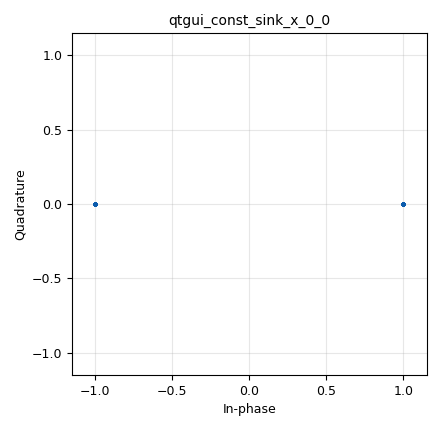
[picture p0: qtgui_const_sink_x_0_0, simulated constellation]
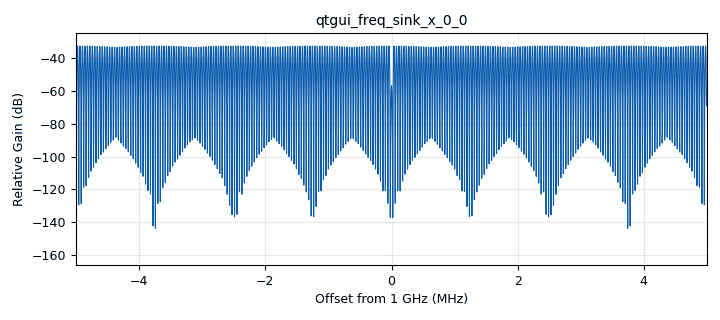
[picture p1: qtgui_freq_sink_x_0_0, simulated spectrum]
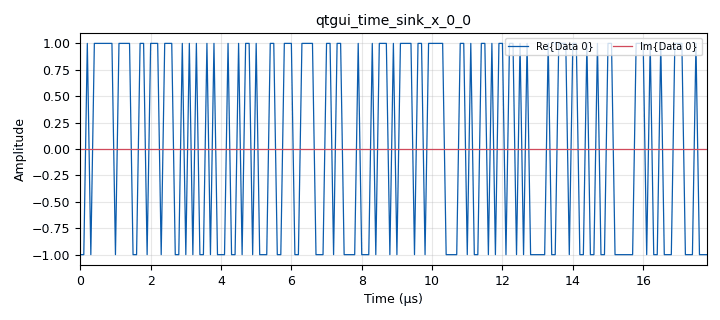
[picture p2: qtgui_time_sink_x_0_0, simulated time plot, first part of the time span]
options:
  parameters:
    author: root
    generate_options: qt_gui
    id: tx
    output_language: python
    title: Tx
  states: {}

blocks:
- name: freq
  id: variable
  parameters:
    value: '1000000000'
  states: {}
- name: full_signal_len
  id: variable
  parameters:
    value: '255'
  states: {}
- name: ga128
  id: variable
  parameters:
    value: (1,1,-1,-1,-1,-1,-1,-1,-1,1,-1,1,1,-1,-1,1,1,1,-1,-1,1,1,1,1,-1,1,-1,1,-1,1,1,-1,-1,-1,1,1,1,1,1,1,1,-1,1,-1,-1,1,1,-1,1,1,-1,-1,1,1,1,1,-1,1,-1,1,-1,1,1,-1,1,1,-1,-1,-1,-1,-1,-1,-1,1,-1,1,1,-1,-1,1,1,1,-1,-1,1,1,1,1,-1,1,-1,1,-1,1,1,-1,1,1,-1,-1,-1,-1,-1,-1,-1,1,-1,1,1,-1,-1,1,-1,-1,1,1,-1,-1,-1,-1,1,-1,1,-1,1,-1,-1,1)
  states: {}
- name: glfsr
  id: variable
  parameters:
    value: (1,-1,1,1,-1,-1,-1,1,1,1,1,-1,1,-1,-1,-1,-1,1,1,1,1,1,1,1,1,-1,-1,1,-1,-1,-1,-1,1,-1,1,-1,-1,1,1,1,1,1,-1,1,-1,1,-1,1,-1,1,1,1,-1,-1,-1,-1,-1,1,1,-1,-1,-1,1,-1,1,-1,1,1,-1,-1,1,1,-1,-1,1,-1,1,1,1,1,1,1,-1,1,1,1,1,-1,-1,1,1,-1,1,1,1,-1,1,1,1,-1,-1,1,-1,1,-1,1,-1,-1,1,-1,1,-1,-1,-1,1,-1,-1,1,-1,1,1,-1,1,-1,-1,-1,1,1,-1,-1,1,1,1,-1,-1,1,1,1,1,-1,-1,-1,1,1,-1,1,1,-1,-1,-1,-1,1,-1,-1,-1,1,-1,1,1,1,-1,1,-1,1,1,1,1,-1,1,1,-1,1,1,1,1,1,-1,-1,-1,-1,1,1,-1,1,-1,-1,1,1,-1,1,-1,1,1,-1,1,1,-1,1,-1,1,-1,-1,-1,-1,-1,1,-1,-1,1,1,1,-1,1,1,-1,-1,1,-1,-1,1,-1,-1,1,1,-1,-1,-1,-1,-1,-1,1,1,1,-1,1,-1,-1,1,-1,-1,-1,1,1,1,-1,-1,-1,1,-1,-1,-1,-1,-1,-1,-1)
  states: {}
- name: glfsr150
  id: variable
  parameters:
    value: (1,-1,1,1,-1,-1,-1,1,1,1,1,-1,1,-1,-1,-1,-1,1,1,1,1,1,1,1,1,-1,-1,1,-1,-1,-1,-1,1,-1,1,-1,-1,1,1,1,1,1,-1,1,-1,1,-1,1,-1,1,1,1,-1,-1,-1,-1,-1,1,1,-1,-1,-1,1,-1,1,-1,1,1,-1,-1,1,1,-1,-1,1,-1,1,1,1,1,1,1,-1,1,1,1,1,-1,-1,1,1,-1,1,1,1,-1,1,1,1,-1,-1,1,-1,1,-1,1,-1,-1,1,-1,1,-1,-1,-1,1,-1,-1,1,-1,1,1,-1,1,-1,-1,-1,1,1,-1,-1,1,1,1,-1,-1,1,1,1,1,-1,-1,-1,1,1,-1,1,1,-1,-1,-1)
  states: {}
- name: glfsr_0s
  id: variable
  parameters:
    value: (1,-1,1,1,-1,-1,-1,1,1,1,1,-1,1,-1,-1,-1,-1,1,1,1,1,1,1,1,1,-1,-1,1,-1,-1,-1,-1,1,-1,1,-1,-1,1,1,1,1,1,-1,1,-1,1,-1,1,-1,1,1,1,-1,-1,-1,-1,-1,1,1,-1,-1,-1,1,-1,1,-1,1,1,-1,-1,1,1,-1,-1,1,-1,1,1,1,1,1,1,-1,1,1,1,1,-1,-1,1,1,-1,1,1,1,-1,1,1,1,-1,-1,1,-1,1,-1,1,-1,-1,1,-1,1,-1,-1,-1,1,-1,-1,1,-1,1,1,-1,1,-1,-1,-1,1,1,-1,-1,1,1,1,-1,-1,1,1,1,1,-1,-1,-1,1,1,-1,1,1,-1,-1,-1,-1,1,-1,-1,-1,1,-1,1,1,1,-1,1,-1,1,1,1,1,-1,1,1,-1,1,1,1,1,1,-1,-1,-1,-1,1,1,-1,1,-1,-1,1,1,-1,1,-1,1,1,-1,1,1,-1,1,-1,1,-1,-1,-1,-1,-1,1,-1,-1,1,1,1,-1,1,1,-1,-1,1,-1,-1,1,-1,-1,1,1,-1,-1,-1,-1,-1,-1,1,1,1,-1,1,-1,-1,1,-1,-1,-1,1,1,1,-1,-1,-1,1,-1,-1,-1,-1,-1,-1,-1,0,0,0,0,0,0,0,0,0,0,0,0,0,0,0,0,0,0,0,0,0,0,0,0,0,0,0,0,0,0,0,0,0,0,0,0,0,0,0,0,0,0,0,0,0,0,0,0,0,0,0,0,0,0,0,0,0,0,0,0,0,0,0,0,0,0,0,0,0,0,0,0,0,0,0,0,0,0,0,0,0,0,0,0,0,0,0,0,0,0,0,0,0,0,0,0,0,0,0,0,0,0,0,0,0,0,0,0,0,0,0,0,0,0,0,0,0,0,0,0,0,0,0,0,0,0,0,0,0,0,0,0,0,0,0,0,0,0,0,0,0,0,0,0,0,0,0,0,0,0,0,0,0,0,0,0,0,0,0,0,0,0,0,0,0,0,0,0,0,0,0,0,0,0,0,0,0,0,0,0,0,0,0,0,0,0,0,0,0,0,0,0,0,0,0,0,0,0,0,0,0,0,0,0,0,0,0,0,0,0,0,0,0,0,0,0,0,0,0,0,0,0,0,0,0,0,0,0,0,0,0,0,0,0,0,0,0,0,0,0,0,0,0,0,0,0,0,0,0,0,0,0,0,0,0)
  states: {}
- name: ls1
  id: variable
  parameters:
    value: (1,1,-1,1,1,1,1,-1,1,1,-1,1,-1,-1,-1,1,1,1,-1,1,1,1,1,-1,-1,-1,1,-1,1,1,1,-1,1,1,-1,1,1,1,1,-1,1,1,-1,1,-1,-1,-1,1,-1,-1,1,-1,-1,-1,-1,1,1,1,-1,1,-1,-1,-1,1,1,1,-1,1,1,1,1,-1,1,1,-1,1,-1,-1,-1,1,1,1,-1,1,1,1,1,-1,-1,-1,1,-1,1,1,1,-1,-1,-1,1,-1,-1,-1,-1,1,-1,-1,1,-1,1,1,1,-1,1,1,-1,1,1,1,1,-1,-1,-1,1,-1,1,1,1,-1,1,1,-1,1,1,1,1,-1,1,1,-1,1,-1,-1,-1,1,1,1,-1,1,1,1,1,-1,-1,-1,1,-1,1,1,1,-1,1,1,-1,1,1,1,1,-1,1,1,-1,1,-1,-1,-1,1,-1,-1,1,-1,-1,-1,-1,1,1,1,-1,1,-1,-1,-1,1,-1,-1,1,-1,-1,-1,-1,1,-1,-1,1,-1,1,1,1,-1,-1,-1,1,-1,-1,-1,-1,1,1,1,-1,1,-1,-1,-1,1,1,1,-1,1,1,1,1,-1,1,1,-1,1,-1,-1,-1,1,-1,-1,1,-1,-1,-1,-1,1,1,1,-1,1,-1,-1,-1,1)
  states: {}
- name: ls1_all
  id: variable
  parameters:
    value: (0,0,0,0,0,0,0,0,0,0,0,0,0,0,0,0,0,0,0,0,0,0,0,0,0,0,0,0,0,0,0,0,0,0,0,0,0,0,0,0,0,0,0,0,0,0,0,0,0,0,0,0,0,0,0,0,0,0,0,0,0,0,0,0,0,0,0,0,0,0,0,0,0,0,0,0,0,0,0,0,0,0,0,0,0,0,0,0,0,0,0,0,0,0,0,0,0,0,0,0,0,0,0,0,0,0,0,0,0,0,0,0,0,0,0,0,0,0,0,0,0,0,0,0,0,0,0,0,0,0,0,0,0,0,0,0,0,0,0,0,0,0,0,0,0,0,0,0,0,0,0,0,0,0,0,0,0,0,0,0,0,0,0,0,0,0,0,0,0,0,0,0,0,0,0,0,0,0,0,0,0,0,0,0,0,0,0,0,0,0,0,0,0,0,0,0,0,0,0,0,0,0,0,0,0,0,0,0,0,0,0,0,0,0,0,0,0,0,0,0,0,0,0,0,0,0,0,0,0,0,0,0,0,0,0,0,0,0,0,0,0,0,0,0,0,0,0,0,0,0,0,0,0,0,0,1,1,-1,1,1,1,1,-1,1,1,-1,1,-1,-1,-1,1,1,1,-1,1,1,1,1,-1,-1,-1,1,-1,1,1,1,-1,1,1,-1,1,1,1,1,-1,1,1,-1,1,-1,-1,-1,1,-1,-1,1,-1,-1,-1,-1,1,1,1,-1,1,-1,-1,-1,1,1,1,-1,1,1,1,1,-1,1,1,-1,1,-1,-1,-1,1,1,1,-1,1,1,1,1,-1,-1,-1,1,-1,1,1,1,-1,-1,-1,1,-1,-1,-1,-1,1,-1,-1,1,-1,1,1,1,-1,1,1,-1,1,1,1,1,-1,-1,-1,1,-1,1,1,1,-1,1,1,-1,1,1,1,1,-1,1,1,-1,1,-1,-1,-1,1,1,1,-1,1,1,1,1,-1,-1,-1,1,-1,1,1,1,-1,1,1,-1,1,1,1,1,-1,1,1,-1,1,-1,-1,-1,1,-1,-1,1,-1,-1,-1,-1,1,1,1,-1,1,-1,-1,-1,1,-1,-1,1,-1,-1,-1,-1,1,-1,-1,1,-1,1,1,1,-1,-1,-1,1,-1,-1,-1,-1,1,1,1,-1,1,-1,-1,-1,1,1,1,-1,1,1,1,1,-1,1,1,-1,1,-1,-1,-1,1,-1,-1,1,-1,-1,-1,-1,1,1,1,-1,1,-1,-1,-1,1,0,0,0,0,0,0,0,0,0,0,0,0,0,0,0,0,0,0,0,0,0,0,0,0,0,0,0,0,0,0,0,0,0,0,0,0,0,0,0,0,0,0,0,0,0,0,0,0,0,0,0,0,0,0,0,0,0,0,0,0,0,0,0,0,0,0,0,0,0,0,0,0,0,0,0,0,0,0,0,0,0,0,0,0,0,0,0,0,0,0,0,0,0,0,0,0,0,0,0,0,0,0,0,0,0,0,0,0,0,0,0,0,0,0,0,0,0,0,0,0,0,0,0,0,0,0,0,0,0,0,0,0,0,0,0,0,0,0,0,0,0,0,0,0,0,0,0,0,0,0,0,0,0,0,0,0,0,0,0,0,0,0,0,0,0,0,0,0,0,0,0,0,0,0,0,0,0,0,0,0,0,0,0,0,0,0,0,0,0,0,0,0,0,0,0,0,0,0,0,0,0,0,0,0,0,0,0,0,0,0,0,0,0,0,0,0,0,0,0,0,0,0,0,0,0,0,0,0,0,0,0,0,0,0,0,0,0,0,0,0,0,0,0,0,0,0,0,0,0,0,0,0,0,0,0,1,-1,-1,-1,1,-1,1,1,1,-1,-1,-1,-1,1,-1,-1,1,-1,-1,-1,1,-1,1,1,-1,1,1,1,1,-1,1,1,1,-1,-1,-1,1,-1,1,1,1,-1,-1,-1,-1,1,-1,-1,-1,1,1,1,-1,1,-1,-1,1,-1,-1,-1,-1,1,-1,-1,1,-1,-1,-1,1,-1,1,1,1,-1,-1,-1,-1,1,-1,-1,1,-1,-1,-1,1,-1,1,1,-1,1,1,1,1,-1,1,1,-1,1,1,1,-1,1,-1,-1,-1,1,1,1,1,-1,1,1,1,-1,-1,-1,1,-1,1,1,-1,1,1,1,1,-1,1,1,1,-1,-1,-1,1,-1,1,1,1,-1,-1,-1,-1,1,-1,-1,1,-1,-1,-1,1,-1,1,1,-1,1,1,1,1,-1,1,1,1,-1,-1,-1,1,-1,1,1,1,-1,-1,-1,-1,1,-1,-1,-1,1,1,1,-1,1,-1,-1,1,-1,-1,-1,-1,1,-1,-1,-1,1,1,1,-1,1,-1,-1,-1,1,1,1,1,-1,1,1,-1,1,1,1,-1,1,-1,-1,1,-1,-1,-1,-1,1,-1,-1,1,-1,-1,-1,1,-1,1,1,1,-1,-1,-1,-1,1,-1,-1,-1,1,1,1,-1,1,-1,-1,1,-1,-1,-1,-1,1,-1,-1)
  states: {}
- name: ls1_d0
  id: variable
  parameters:
    value: (1,1,-1,1,1,1,1,-1,1,1,-1,1,-1,-1,-1,1,1,1,-1,1,1,1,1,-1,-1,-1,1,-1,1,1,1,-1,1,1,-1,1,1,1,1,-1,1,1,-1,1,-1,-1,-1,1,-1,-1,1,-1,-1,-1,-1,1,1,1,-1,1,-1,-1,-1,1,1,1,-1,1,1,1,1,-1,1,1,-1,1,-1,-1,-1,1,1,1,-1,1,1,1,1,-1,-1,-1,1,-1,1,1,1,-1,-1,-1,1,-1,-1,-1,-1,1,-1,-1,1,-1,1,1,1,-1,1,1,-1,1,1,1,1,-1,-1,-1,1,-1,1,1,1,-1,1,1,-1,1,1,1,1,-1,1,1,-1,1,-1,-1,-1,1,1,1,-1,1,1,1,1,-1,-1,-1,1,-1,1,1,1,-1,1,1,-1,1,1,1,1,-1,1,1,-1,1,-1,-1,-1,1,-1,-1,1,-1,-1,-1,-1,1,1,1,-1,1,-1,-1,-1,1,-1,-1,1,-1,-1,-1,-1,1,-1,-1,1,-1,1,1,1,-1,-1,-1,1,-1,-1,-1,-1,1,1,1,-1,1,-1,-1,-1,1,1,1,-1,1,1,1,1,-1,1,1,-1,1,-1,-1,-1,1,-1,-1,1,-1,-1,-1,-1,1,1,1,-1,1,-1,-1,-1,1,0,0,0,0,0,0,0,0,0,0,0,0,0,0,0,0,0,0,0,0,0,0,0,0,0,0,0,0,0,0,0,0,0,0,0,0,0,0,0,0,0,0,0,0,0,0,0,0,0,0,0,0,0,0,0,0,0,0,0,0,0,0,0,0,0,0,0,0,0,0,0,0,0,0,0,0,0,0,0,0,0,0,0,0,0,0,0,0,0,0,0,0,0,0,0,0,0,0,0,0,0,0,0,0,0,0,0,0,0,0,0,0,0,0,0,0,0,0,0,0,0,0,0,0,0,0,0,0,0,0,0,0,0,0,0,0,0,0,0,0,0,0,0,0,0,0,0,0,0,0,0,0,0,0,0,0,0,0,0,0,0,0,0,0,0,0,0,0,0,0,0,0,0,0,0,0,0,0,0,0,0,0,0,0,0,0,0,0,0,0,0,0,0,0,0,0,0,0,0,0,0,0,0,0,0,0,0,0,0,0,0,0,0,0,0,0,0,0,0,0,0,0,0,0,0,0,0,0,0,0,0,0,0,0,0,0,0,0,0,0,0,0,0,0,0,0,0,0,0,0,0,0,0,0,0)
  states: {state: disabled}
- name: ls2
  id: variable
  parameters:
    value: (1,1,-1,1,1,1,1,-1,1,1,-1,1,-1,-1,-1,1,1,1,-1,1,1,1,1,-1,-1,-1,1,-1,1,1,1,-1,1,1,-1,1,1,1,1,-1,1,1,-1,1,-1,-1,-1,1,-1,-1,1,-1,-1,-1,-1,1,1,1,-1,1,-1,-1,-1,1,1,1,-1,1,1,1,1,-1,1,1,-1,1,-1,-1,-1,1,1,1,-1,1,1,1,1,-1,-1,-1,1,-1,1,1,1,-1,-1,-1,1,-1,-1,-1,-1,1,-1,-1,1,-1,1,1,1,-1,1,1,-1,1,1,1,1,-1,-1,-1,1,-1,1,1,1,-1,-1,-1,1,-1,-1,-1,-1,1,-1,-1,1,-1,1,1,1,-1,-1,-1,1,-1,-1,-1,-1,1,1,1,-1,1,-1,-1,-1,1,-1,-1,1,-1,-1,-1,-1,1,-1,-1,1,-1,1,1,1,-1,1,1,-1,1,1,1,1,-1,-1,-1,1,-1,1,1,1,-1,1,1,-1,1,1,1,1,-1,1,1,-1,1,-1,-1,-1,1,1,1,-1,1,1,1,1,-1,-1,-1,1,-1,1,1,1,-1,-1,-1,1,-1,-1,-1,-1,1,-1,-1,1,-1,1,1,1,-1,1,1,-1,1,1,1,1,-1,-1,-1,1,-1,1,1,1,-1)
  states: {}
- name: num_disp_points
  id: variable
  parameters:
    value: '2048'
  states: {}
- name: samp_rate
  id: variable
  parameters:
    value: 10e6
  states: {}
- name: tx_gain_slider
  id: variable_qtgui_range
  parameters:
    orient: Qt.Horizontal
    start: '0'
    step: '0.5'
    stop: '31.5'
    value: '15'
  states: {}
- name: blocks_file_sink_0_0
  id: blocks_file_sink
  parameters:
    file: /root/tx_file_sink.iq
    type: complex
  states: {state: disabled}
- name: blocks_float_to_complex_0
  id: blocks_float_to_complex
  parameters: {}
  states: {}
- name: blocks_null_source_1
  id: blocks_null_source
  parameters:
    type: float
  states: {}
- name: blocks_vector_source_x_1
  id: blocks_vector_source_x
  parameters:
    repeat: 'True'
    type: float
    vector: glfsr
  states: {}
- name: digital_glfsr_source_x_0
  id: digital_glfsr_source_x
  parameters:
    degree: '8'
    mask: '0'
    repeat: 'True'
    seed: '1'
    type: float
  states: {state: disabled}
- name: qtgui_const_sink_x_0_0
  id: qtgui_const_sink_x
  parameters:
    autoscale: 'True'
    grid: 'True'
    size: num_disp_points
    type: complex
  states: {}
- name: qtgui_freq_sink_x_0_0
  id: qtgui_freq_sink_x
  parameters:
    autoscale: 'True'
    bw: samp_rate
    fc: freq
    fftsize: num_disp_points
    grid: 'True'
    type: complex
    wintype: firdes.WIN_BLACKMAN_hARRIS
  states: {}
- name: qtgui_time_sink_x_0_0
  id: qtgui_time_sink_x
  parameters:
    autoscale: 'True'
    size: num_disp_points
    srate: samp_rate
    type: complex
  states: {}
- name: uhd_usrp_sink_0_0
  id: uhd_usrp_sink
  parameters:
    ant0: TX/RX
    center_freq0: freq
    clock_source0: external
    dev_addr: ''
    gain0: tx_gain_slider
    len_tag_name: ''
    norm_gain0: 'False'
    samp_rate: samp_rate
    sync: sync
    time_source0: external
    type: fc32
  states: {}

connections:
- [blocks_float_to_complex_0, '0', blocks_file_sink_0_0, '0']
- [blocks_float_to_complex_0, '0', qtgui_const_sink_x_0_0, '0']
- [blocks_float_to_complex_0, '0', qtgui_freq_sink_x_0_0, '0']
- [blocks_float_to_complex_0, '0', qtgui_time_sink_x_0_0, '0']
- [blocks_float_to_complex_0, '0', uhd_usrp_sink_0_0, '0']
- [blocks_null_source_1, '0', blocks_float_to_complex_0, '1']
- [blocks_vector_source_x_1, '0', blocks_float_to_complex_0, '0']

metadata:
  file_format: 1
